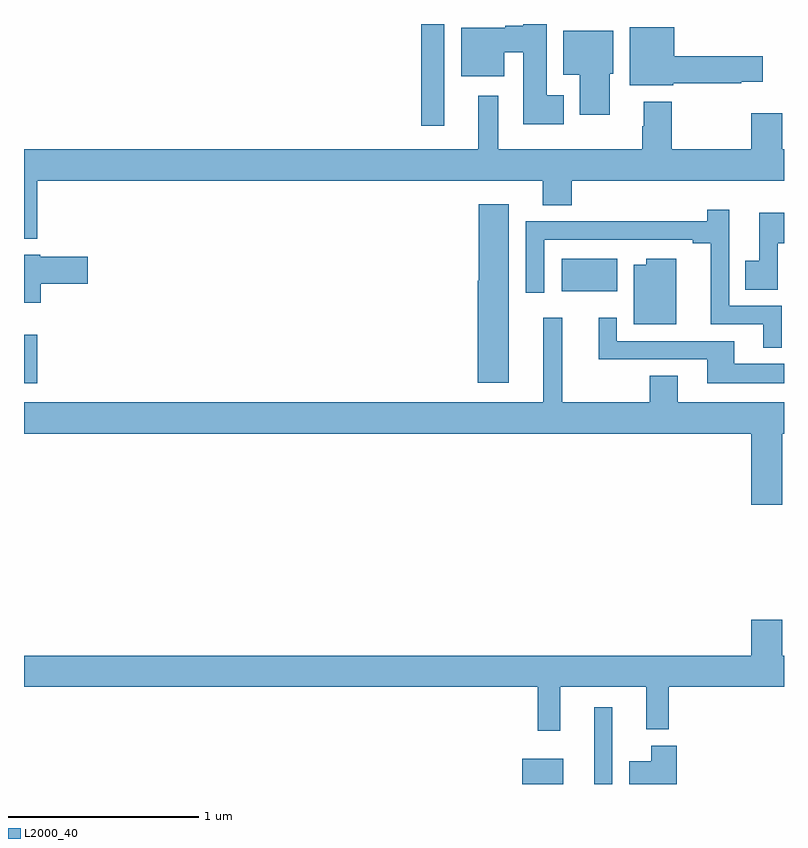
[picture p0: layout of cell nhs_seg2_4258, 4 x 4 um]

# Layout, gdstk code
import gdstk
lib = gdstk.Library(unit=1e-6, precision=1e-09)
def R(c, l, rs):  # rectangles x0, y0, x1, y1
    for r in rs: c.add(gdstk.rectangle(r[:2], r[2:], *l))
def P(c, l, *ps):  # polygons
    for p in ps: c.add(gdstk.Polygon(p, *l))
L2000_40 = (2000, 40)

nhs_seg2_4258 = lib.new_cell('nhs_seg2_4258')
R(nhs_seg2_4258, L2000_40, [(343.622,637.8,343.837,637.933), (344,637.8,344.097,638.203), (341,639.908,341.071,640.165), (343.829,640.394,344.122,640.564), (343.092,641.265,343.213,641.8)])
P(nhs_seg2_4258, L2000_40, [(343.84,641.425),(343.75,641.425),(343.75,641.8),(343.628,641.8),(343.628,641.792),(343.532,641.792),(343.532,641.779),(343.301,641.779),(343.301,641.525),(343.528,641.525),(343.528,641.651),(343.628,641.651),(343.628,641.273),(343.84,641.273)],
  [(344.418,641.488),(344.774,641.488),(344.774,641.495),(344.887,641.495),(344.887,641.63),(344.422,641.63),(344.422,641.782),(344.189,641.782),(344.189,641.477),(344.418,641.477)],
  [(344.083,641.538),(344.101,641.538),(344.101,641.764),(343.838,641.764),(343.838,641.534),(343.925,641.534),(343.925,641.322),(344.083,641.322)],
  [(341.069,640.976),(343.73,640.976),(343.73,640.846),(343.883,640.846),(343.883,640.976),(345,640.976),(345,641.14),(344.992,641.14),(344.992,641.329),(344.828,641.329),(344.828,641.14),(344.409,641.14),(344.409,641.392),(344.261,641.392),(344.261,641.261),(344.254,641.261),(344.254,641.14),(343.495,641.14),(343.495,641.422),(343.391,641.422),(343.391,641.14),(341,641.14),(341,640.67),(341.069,640.67)],
  [(343.552,640.852),(343.394,640.852),(343.394,640.449),(343.388,640.449),(343.388,639.912),(343.552,639.912)],
  [(344.989,640.317),(344.712,640.317),(344.712,640.822),(344.596,640.822),(344.596,640.763),(343.966,640.763),(343.966,640.761),(343.641,640.761),(343.641,640.386),(343.737,640.386),(343.737,640.665),(344.519,640.665),(344.519,640.645),(344.615,640.645),(344.615,640.221),(344.891,640.221),(344.891,640.097),(344.989,640.097)],
  [(344.967,640.646),(345,640.646),(345,640.807),(344.87,640.807),(344.87,640.554),(344.797,640.554),(344.797,640.402),(344.967,640.402)],
  [(341.089,640.433),(341.335,640.433),(341.335,640.575),(341.085,640.575),(341.085,640.585),(341,640.585),(341,640.334),(341.089,640.334)],
  [(344.434,640.564),(344.276,640.564),(344.276,640.534),(344.21,640.534),(344.21,640.22),(344.434,640.22)],
  [(344.992,639.644),(345,639.644),(345,639.808),(344.44,639.808),(344.44,639.95),(344.293,639.95),(344.293,639.808),(343.832,639.808),(343.832,640.255),(343.733,640.255),(343.733,639.808),(341,639.808),(341,639.644),(344.828,639.644),(344.828,639.27),(344.992,639.27)],
  [(345,640.012),(344.737,640.012),(344.737,640.131),(344.121,640.131),(344.121,640.255),(344.024,640.255),(344.024,640.035),(344.597,640.035),(344.597,639.908),(345,639.908)],
  [(343.823,638.312),(344.276,638.312),(344.276,638.087),(344.393,638.087),(344.393,638.312),(345,638.312),(345,638.476),(344.992,638.476),(344.992,638.665),(344.828,638.665),(344.828,638.476),(341,638.476),(341,638.312),(343.705,638.312),(343.705,638.079),(343.823,638.079)],
  [(344.435,638.002),(344.3,638.002),(344.3,637.921),(344.186,637.921),(344.186,637.8),(344.435,637.8)])

lib.write_gds('nhs_seg2_4258.gds')
